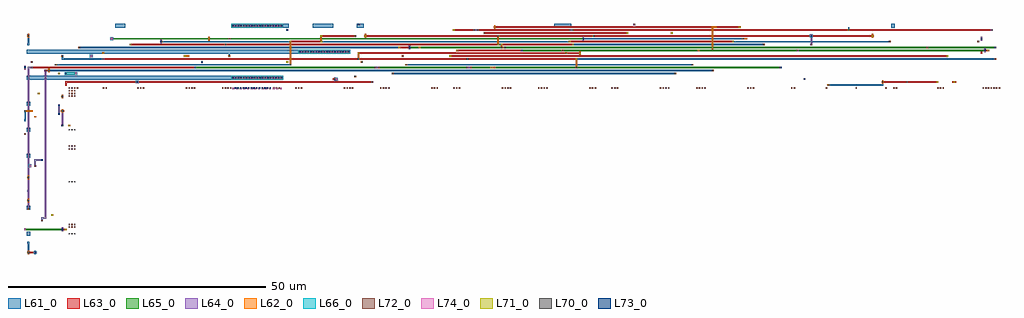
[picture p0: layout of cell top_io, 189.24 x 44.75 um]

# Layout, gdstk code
import gdstk
lib = gdstk.Library(unit=1e-6, precision=1e-09)
def R(c, l, rs):  # rectangles x0, y0, x1, y1
    for r in rs: c.add(gdstk.rectangle(r[:2], r[2:], *l))
def A(c, l, x, y, w, h, nx, ny, dx, dy):  # array of equal rectangles
    R(c, l, [(x+i*dx, y+j*dy, x+i*dx+w, y+j*dy+h) for i in range(nx) for j in range(ny)])
def P(c, l, *ps):  # polygons
    for p in ps: c.add(gdstk.Polygon(p, *l))
L61_0 = (61, 0)
L62_0 = (62, 0)
L63_0 = (63, 0)
L64_0 = (64, 0)
L65_0 = (65, 0)
L66_0 = (66, 0)
L70_0 = (70, 0)
L71_0 = (71, 0)
L72_0 = (72, 0)
L73_0 = (73, 0)
L74_0 = (74, 0)

top_io = lib.new_cell('top_io')
A(top_io, L61_0, 1200.54, 753.92, 0.66, 0.8, 1, 4, 0, 5.04)
R(top_io, L61_0, [(1200.68,730.38,1201.06,730.66), (1200.54,733.76,1201.2,734.56), (1200.54,738.8,1201.2,739.6), (1200.68,740.46,1201.06,740.74), (1200.68,744.94,1201.06,745.22), (1200.54,748.88,1201.2,749.68), (1200.54,753.92,1201.2,754.72), (1200.02,757.82,1200.4,758.1), (1207.28,757.82,1207.66,758.1), (1207.28,760.62,1207.66,760.9), (1355.78,762.86,1356.16,763.14), (1366.34,763.42,1366.72,763.7), (1201.2,764,1250.24,764.8), (1240.24,764,1250.24,764.8), (1264.04,764.54,1264.42,764.82), (1271.3,765.1,1271.68,765.38), (1326.08,765.1,1326.46,765.38), (1204.64,765.66,1205.02,765.94), (1333.34,765.66,1333.72,765.94), (1306.94,766.22,1307.32,766.5), (1205.96,766.78,1206.34,767.06), (1251.5,766.78,1251.88,767.06), (1273.94,766.78,1274.32,767.06), (1329.38,766.78,1329.76,767.06), (1265.36,767.34,1265.74,767.62), (1264.7,767.9,1265.08,768.18), (1285.82,767.9,1286.2,768.18), (1388.12,767.9,1388.5,768.18), (1207.28,768.46,1207.66,768.74), (1239.62,768.46,1240,768.74), (1273.28,768.46,1273.66,768.74), (1239.695,768.485,1239.925,769.16), (1304.96,769.02,1305.34,769.3), (1201.2,769.04,1263.24,769.84), (1253.24,769.04,1263.24,769.84), (1304.3,769.58,1304.68,769.86), (1210.58,770.14,1210.96,770.42), (1292.42,770.14,1292.8,770.42), (1293.08,770.14,1293.46,770.42), (1238.96,770.7,1239.34,770.98), (1343.24,770.7,1343.62,770.98), (1226.42,771.26,1226.8,771.54), (1367.66,771.26,1368.04,771.54), (1239.62,771.82,1240,772.1), (1339.28,771.82,1339.66,772.1), (1200.68,772.38,1201.06,772.66), (1291.76,772.38,1292.14,772.66), (1310.24,772.38,1310.62,772.66), (1359.74,773.5,1360.12,773.78), (1359.815,773.525,1360.045,774.2), (1217.7,774.08,1219.02,774.88), (1219.02,774.08,1219.68,774.88), (1240.24,774.08,1250.24,774.88), (1250.04,774.08,1251.36,774.88), (1255.98,774.08,1258.62,774.88), (1258.62,774.08,1259.94,774.88), (1264.56,774.08,1265.88,774.88), (1302.84,774.08,1305.48,774.88), (1305.48,774.08,1306.14,774.88), (1368.18,774.08,1368.84,774.88)])
P(top_io, L61_0, [(1204.83,765.915),(1204.715,765.915),(1204.715,765.685),(1204.83,765.685),(1333.53,765.685),(1333.645,765.685),(1333.645,765.915),(1333.53,765.915)],
  [(1286.01,768.155),(1285.895,768.155),(1285.895,767.925),(1286.01,767.925),(1388.31,767.925),(1388.425,767.925),(1388.425,768.155),(1388.31,768.155)],
  [(1226.61,771.515),(1226.495,771.515),(1226.495,771.285),(1226.61,771.285),(1367.85,771.285),(1367.965,771.285),(1367.965,771.515),(1367.85,771.515)],
  [(1239.15,770.955),(1239.035,770.955),(1239.035,770.725),(1239.15,770.725),(1343.43,770.725),(1343.545,770.725),(1343.545,770.955),(1343.43,770.955)],
  [(1274.13,767.035),(1274.015,767.035),(1274.015,766.805),(1274.13,766.805),(1329.57,766.805),(1329.685,766.805),(1329.685,767.035),(1329.57,767.035)],
  [(1206.15,767.035),(1206.035,767.035),(1206.035,766.805),(1206.15,766.805),(1251.69,766.805),(1251.805,766.805),(1251.805,767.035),(1251.69,767.035)],
  [(1239.81,772.075),(1239.695,772.075),(1239.695,771.845),(1239.81,771.845),(1339.47,771.845),(1339.585,771.845),(1339.585,772.075),(1339.47,772.075)],
  [(1355.97,763.115),(1355.855,763.115),(1355.855,762.885),(1355.97,762.885),(1366.53,762.885),(1366.645,762.885),(1366.645,763.115),(1366.53,763.115)],
  [(1366.415,763),(1366.415,762.885),(1366.645,762.885),(1366.645,763),(1366.645,763.56),(1366.645,763.675),(1366.415,763.675),(1366.415,763.56)],
  [(1207.355,768.04),(1207.355,767.925),(1207.585,767.925),(1207.585,768.04),(1207.585,768.6),(1207.585,768.715),(1207.355,768.715),(1207.355,768.6)],
  [(1207.47,768.155),(1207.355,768.155),(1207.355,767.925),(1207.47,767.925),(1264.89,767.925),(1265.005,767.925),(1265.005,768.155),(1264.89,768.155)],
  [(1210.77,770.395),(1210.655,770.395),(1210.655,770.165),(1210.77,770.165),(1292.61,770.165),(1292.725,770.165),(1292.725,770.395),(1292.61,770.395)],
  [(1291.95,772.635),(1291.835,772.635),(1291.835,772.405),(1291.95,772.405),(1310.43,772.405),(1310.545,772.405),(1310.545,772.635),(1310.43,772.635)],
  [(1271.49,765.355),(1271.375,765.355),(1271.375,765.125),(1271.49,765.125),(1326.27,765.125),(1326.385,765.125),(1326.385,765.355),(1326.27,765.355)],
  [(1200.02,755.92),(1200.02,756.26),(1200.095,756.26),(1200.095,756.395),(1200.13,756.395),(1200.13,757.71),(1200.02,757.71),(1200.02,758.05),(1200.36,758.05),(1200.36,755.92)],
  [(1200.68,772.88),(1200.68,772.54),(1200.755,772.54),(1200.755,772.405),(1200.79,772.405),(1200.79,771.09),(1200.68,771.09),(1200.68,770.75),(1201.02,770.75),(1201.02,772.88)],
  [(1200.68,742.64),(1200.68,742.3),(1200.755,742.3),(1200.755,742.165),(1200.79,742.165),(1200.79,740.85),(1200.68,740.85),(1200.68,740.51),(1201.02,740.51),(1201.02,742.64)],
  [(1200.68,732.56),(1200.68,732.22),(1200.755,732.22),(1200.755,732.085),(1200.79,732.085),(1200.79,730.77),(1200.68,730.77),(1200.68,730.43),(1201.02,730.43),(1201.02,732.56)])
A(top_io, L62_0, 1264.7, 767.9, 0.38, 0.28, 3, 1, 21.12, 0)
R(top_io, L62_0, [(1200.73,730.15,1201.01,730.89), (1200.68,730.38,1201.06,730.66), (1207.94,734.86,1208.32,735.14), (1205.3,737.66,1205.68,737.94), (1200.73,740.23,1201.01,740.97), (1200.68,740.46,1201.06,740.74), (1200.73,744.71,1201.01,745.45), (1200.68,744.94,1201.06,745.22), (1208.6,755.02,1208.98,755.3), (1202,756.7,1202.38,756.98), (1207.33,757.59,1207.61,758.33), (1200.02,757.82,1200.4,758.1), (1207.28,757.82,1207.66,758.1), (1207.33,760.39,1207.61,761.13), (1207.28,760.62,1207.66,760.9), (1202.66,761.18,1203.04,761.46), (1355.78,762.86,1356.16,763.14), (1366.39,763.19,1366.67,763.93), (1366.34,763.42,1366.72,763.7), (1376.9,763.42,1377.28,763.7), (1380.2,763.42,1380.58,763.7), (1260.08,763.98,1260.46,764.26), (1240.24,764,1250.24,764.8), (1240.24,764,1250.24,764.8), (1264.04,764.54,1264.42,764.82), (1206.62,765.1,1207,765.38), (1271.3,765.1,1271.68,765.38), (1326.08,765.1,1326.46,765.38), (1204.69,765.43,1204.97,766.17), (1204.64,765.66,1205.02,765.94), (1333.34,765.66,1333.72,765.94), (1290.44,766.22,1290.82,766.5), (1306.94,766.22,1307.32,766.5), (1205.96,766.78,1206.34,767.06), (1251.5,766.78,1251.88,767.06), (1273.94,766.78,1274.32,767.06), (1329.38,766.78,1329.76,767.06), (1250.84,767.34,1251.22,767.62), (1265.36,767.34,1265.74,767.62), (1388.12,767.9,1388.5,768.18), (1207.28,768.46,1207.66,768.74), (1231.04,768.46,1231.42,768.74), (1239.62,768.46,1240,768.74), (1273.28,768.46,1273.66,768.74), (1282.52,768.46,1282.9,768.74), (1378.88,768.46,1379.26,768.74), (1307.65,768.79,1307.93,769.53), (1215.2,769.02,1215.58,769.3), (1264.7,769.02,1265.08,769.3), (1304.96,769.02,1305.34,769.3), (1253.24,769.04,1263.24,769.84), (1253.24,769.04,1263.24,769.84), (1283.84,769.58,1284.22,769.86), (1304.3,769.58,1304.68,769.86), (1330.7,769.58,1331.08,769.86), (1386.8,769.58,1387.18,769.86), (1333.39,769.91,1333.67,770.65), (1210.58,770.14,1210.96,770.42), (1272.62,770.14,1273,770.42), (1276.58,770.14,1276.96,770.42), (1292.42,770.14,1292.8,770.42), (1293.08,770.14,1293.46,770.42), (1220.48,770.7,1220.86,770.98), (1238.96,770.7,1239.34,770.98), (1291.76,770.7,1292.14,770.98), (1292.42,770.7,1292.8,770.98), (1306.28,770.7,1306.66,770.98), (1343.24,770.7,1343.62,770.98), (1226.42,771.26,1226.8,771.54), (1251.5,771.26,1251.88,771.54), (1257.44,771.26,1257.82,771.54), (1305.62,771.26,1306,771.54), (1337.3,771.26,1337.68,771.54), (1367.66,771.26,1368.04,771.54), (1235.71,771.59,1235.99,772.33), (1239.62,771.82,1240,772.1), (1339.28,771.82,1339.66,772.1), (1200.73,772.15,1201.01,772.89), (1266.07,772.15,1266.35,772.89), (1364.41,772.15,1364.69,772.89), (1200.68,772.38,1201.06,772.66), (1257.44,772.38,1257.82,772.66), (1291.76,772.38,1292.14,772.66), (1310.24,772.38,1310.62,772.66), (1316.84,772.94,1317.22,773.22), (1325.42,772.94,1325.8,773.22), (1283.18,773.5,1283.56,773.78), (1359.74,773.5,1360.12,773.78), (1291.15,773.83,1291.43,774.57), (1338.62,774.06,1339,774.34), (1240.24,774.08,1250.24,774.88), (1240.24,774.08,1250.24,774.88)])
P(top_io, L62_0, [(1231.23,768.74),(1231.09,768.74),(1231.09,768.46),(1231.23,768.46),(1231.89,768.46),(1232.03,768.46),(1232.03,768.74),(1231.89,768.74)],
  [(1291.81,770.84),(1291.81,770.7),(1292.09,770.7),(1292.09,770.84),(1292.09,772.52),(1292.09,772.66),(1291.81,772.66),(1291.81,772.52)],
  [(1292.47,770.28),(1292.47,770.14),(1292.75,770.14),(1292.75,770.28),(1292.75,770.84),(1292.75,770.98),(1292.47,770.98),(1292.47,770.84)],
  [(1264.75,768.04),(1264.75,767.9),(1265.03,767.9),(1265.03,768.04),(1265.03,769.16),(1265.03,769.3),(1264.75,769.3),(1264.75,769.16)],
  [(1200.21,758.1),(1200.07,758.1),(1200.07,757.82),(1200.21,757.82),(1201.53,757.82),(1201.67,757.82),(1201.67,758.1),(1201.53,758.1)],
  [(1339.47,772.1),(1339.33,772.1),(1339.33,771.82),(1339.47,771.82),(1340.13,771.82),(1340.27,771.82),(1340.27,772.1),(1340.13,772.1)],
  [(1251.55,766.92),(1251.55,766.78),(1251.83,766.78),(1251.83,766.92),(1251.83,771.4),(1251.83,771.54),(1251.55,771.54),(1251.55,771.4)],
  [(1257.49,771.4),(1257.49,771.26),(1257.77,771.26),(1257.77,771.4),(1257.77,772.52),(1257.77,772.66),(1257.49,772.66),(1257.49,772.52)],
  [(1333.39,770.28),(1333.39,770.14),(1333.67,770.14),(1333.67,770.28),(1333.67,774.2),(1333.67,774.34),(1333.39,774.34),(1333.39,774.2)],
  [(1333.53,774.34),(1333.39,774.34),(1333.39,774.06),(1333.53,774.06),(1334.19,774.06),(1334.33,774.06),(1334.33,774.34),(1334.19,774.34)],
  [(1290.63,766.5),(1290.49,766.5),(1290.49,766.22),(1290.63,766.22),(1291.29,766.22),(1291.43,766.22),(1291.43,766.5),(1291.29,766.5)],
  [(1306.99,766.36),(1306.99,766.22),(1307.27,766.22),(1307.27,766.36),(1307.27,768.04),(1307.27,768.18),(1306.99,768.18),(1306.99,768.04)])
A(top_io, L63_0, 1272.62, 770.14, 0.38, 0.28, 3, 1, 1.98, 0)
R(top_io, L63_0, [(1200.68,730.38,1201.06,730.66), (1202,730.38,1202.38,730.66), (1207.28,734.86,1207.66,735.14), (1207.94,734.86,1208.32,735.14), (1203.32,736.54,1203.7,736.82), (1205.3,737.66,1205.68,737.94), (1200.68,738.78,1201.06,739.06), (1200.68,740.46,1201.06,740.74), (1200.68,744.94,1201.06,745.22), (1202,747.18,1202.38,747.46), (1200.02,753.34,1200.4,753.62), (1208.6,755.02,1208.98,755.3), (1202,756.7,1202.38,756.98), (1207.1,757.82,1207.84,758.1), (1207.28,757.82,1207.66,758.1), (1207.28,760.62,1207.66,760.9), (1202.66,761.18,1203.04,761.46), (1267.34,763.42,1267.72,763.7), (1366.34,763.42,1366.72,763.7), (1370.96,763.42,1371.34,763.7), (1376.9,763.42,1377.28,763.7), (1380.02,763.42,1380.76,763.7), (1380.2,763.42,1380.58,763.7), (1259.9,763.98,1260.64,764.26), (1260.08,763.98,1260.46,764.26), (1240.24,764,1250.24,764.8), (1240.24,764,1250.24,764.8), (1206.62,765.1,1207,765.38), (1203.98,765.66,1204.36,765.94), (1204.64,765.66,1205.02,765.94), (1200.02,766.22,1200.4,766.5), (1201.34,766.22,1201.72,766.5), (1268,766.22,1268.38,766.5), (1268.66,766.22,1269.04,766.5), (1285.82,766.22,1286.2,766.5), (1286.48,766.22,1286.86,766.5), (1290.44,766.22,1290.82,766.5), (1201.34,767.34,1201.72,767.62), (1250.84,767.34,1251.22,767.62), (1215.2,767.9,1215.58,768.18), (1306.94,767.9,1307.32,768.18), (1231.04,768.46,1231.42,768.74), (1282.52,768.46,1282.9,768.74), (1378.88,768.46,1379.26,768.74), (1215.2,769.02,1215.58,769.3), (1264.7,769.02,1265.08,769.3), (1307.6,769.02,1307.98,769.3), (1253.24,769.04,1263.24,769.84), (1253.24,769.04,1263.24,769.84), (1283.84,769.58,1284.22,769.86), (1330.7,769.58,1331.08,769.86), (1349.84,769.58,1350.22,769.86), (1386.14,769.58,1386.52,769.86), (1386.8,769.58,1387.18,769.86), (1333.34,770.14,1333.72,770.42), (1374.92,770.14,1375.3,770.42), (1220.48,770.7,1220.86,770.98), (1291.76,770.7,1292.14,770.98), (1292.42,770.7,1292.8,770.98), (1306.28,770.7,1306.66,770.98), (1352.48,770.7,1352.86,770.98), (1251.5,771.26,1251.88,771.54), (1257.44,771.26,1257.82,771.54), (1305.62,771.26,1306,771.54), (1337.3,771.26,1337.68,771.54), (1384.82,771.26,1385.2,771.54), (1235.66,771.82,1236.04,772.1), (1200.68,772.38,1201.06,772.66), (1257.44,772.38,1257.82,772.66), (1264.04,772.38,1264.42,772.66), (1266.02,772.38,1266.4,772.66), (1364.36,772.38,1364.74,772.66), (1289.12,772.94,1289.5,773.22), (1316.84,772.94,1317.22,773.22), (1325.42,772.94,1325.8,773.22), (1283.18,773.5,1283.56,773.78), (1287.14,773.5,1287.52,773.78), (1287.8,773.5,1288.18,773.78), (1305.62,773.5,1306,773.78), (1306.28,773.5,1306.66,773.78), (1387.46,773.5,1387.84,773.78), (1291.1,774.06,1291.48,774.34), (1338.62,774.06,1339,774.34), (1240.24,774.08,1250.24,774.88), (1240.24,774.08,1250.24,774.88), (1318.16,774.62,1318.54,774.9)])
P(top_io, L63_0, [(1282.71,768.74),(1282.57,768.74),(1282.57,768.46),(1282.71,768.46),(1379.07,768.46),(1379.21,768.46),(1379.21,768.74),(1379.07,768.74)],
  [(1220.67,770.98),(1220.53,770.98),(1220.53,770.7),(1220.67,770.7),(1291.95,770.7),(1292.09,770.7),(1292.09,770.98),(1291.95,770.98)],
  [(1292.61,770.98),(1292.47,770.98),(1292.47,770.7),(1292.61,770.7),(1306.47,770.7),(1306.61,770.7),(1306.61,770.98),(1306.47,770.98)],
  [(1264.89,769.3),(1264.75,769.3),(1264.75,769.02),(1264.89,769.02),(1307.79,769.02),(1307.93,769.02),(1307.93,769.3),(1307.79,769.3)],
  [(1371.15,763.7),(1371.01,763.7),(1371.01,763.42),(1371.15,763.42),(1377.09,763.42),(1377.23,763.42),(1377.23,763.7),(1377.09,763.7)],
  [(1366.53,763.7),(1366.39,763.7),(1366.39,763.42),(1366.53,763.42),(1371.15,763.42),(1371.29,763.42),(1371.29,763.7),(1371.15,763.7)],
  [(1272.81,770.42),(1272.67,770.42),(1272.67,770.14),(1272.81,770.14),(1274.79,770.14),(1274.93,770.14),(1274.93,770.42),(1274.79,770.42)],
  [(1289.31,773.22),(1289.17,773.22),(1289.17,772.94),(1289.31,772.94),(1317.03,772.94),(1317.17,772.94),(1317.17,773.22),(1317.03,773.22)],
  [(1251.69,771.54),(1251.55,771.54),(1251.55,771.26),(1251.69,771.26),(1257.63,771.26),(1257.77,771.26),(1257.77,771.54),(1257.63,771.54)],
  [(1257.63,772.66),(1257.49,772.66),(1257.49,772.38),(1257.63,772.38),(1264.23,772.38),(1264.37,772.38),(1264.37,772.66),(1264.23,772.66)],
  [(1284.03,769.86),(1283.89,769.86),(1283.89,769.58),(1284.03,769.58),(1330.89,769.58),(1331.03,769.58),(1331.03,769.86),(1330.89,769.86)],
  [(1266.21,772.66),(1266.07,772.66),(1266.07,772.38),(1266.21,772.38),(1364.55,772.38),(1364.69,772.38),(1364.69,772.66),(1364.55,772.66)],
  [(1305.81,771.54),(1305.67,771.54),(1305.67,771.26),(1305.81,771.26),(1337.49,771.26),(1337.63,771.26),(1337.63,771.54),(1337.49,771.54)],
  [(1276.77,770.42),(1276.63,770.42),(1276.63,770.14),(1276.77,770.14),(1333.53,770.14),(1333.67,770.14),(1333.67,770.42),(1333.53,770.42)],
  [(1291.29,774.34),(1291.15,774.34),(1291.15,774.06),(1291.29,774.06),(1338.81,774.06),(1338.95,774.06),(1338.95,774.34),(1338.81,774.34)],
  [(1386.33,769.86),(1386.19,769.86),(1386.19,769.58),(1386.33,769.58),(1386.99,769.58),(1387.13,769.58),(1387.13,769.86),(1386.99,769.86)],
  [(1283.37,773.78),(1283.23,773.78),(1283.23,773.5),(1283.37,773.5),(1287.33,773.5),(1287.47,773.5),(1287.47,773.78),(1287.33,773.78)],
  [(1287.99,773.78),(1287.85,773.78),(1287.85,773.5),(1287.99,773.5),(1305.81,773.5),(1305.95,773.5),(1305.95,773.78),(1305.81,773.78)],
  [(1306.47,773.78),(1306.33,773.78),(1306.33,773.5),(1306.47,773.5),(1387.65,773.5),(1387.79,773.5),(1387.79,773.78),(1387.65,773.78)],
  [(1385.53,769.16),(1385.53,769.02),(1385.81,769.02),(1385.81,769.16),(1385.81,769.72),(1385.81,769.86),(1385.53,769.86),(1385.53,769.72)],
  [(1350.03,769.86),(1349.89,769.86),(1349.89,769.58),(1350.03,769.58),(1385.67,769.58),(1385.81,769.58),(1385.81,769.86),(1385.67,769.86)],
  [(1200.87,730.66),(1200.73,730.66),(1200.73,730.38),(1200.87,730.38),(1202.19,730.38),(1202.33,730.38),(1202.33,730.66),(1202.19,730.66)],
  [(1286.67,766.5),(1286.53,766.5),(1286.53,766.22),(1286.67,766.22),(1290.63,766.22),(1290.77,766.22),(1290.77,766.5),(1290.63,766.5)],
  [(1268.85,766.5),(1268.71,766.5),(1268.71,766.22),(1268.85,766.22),(1286.01,766.22),(1286.15,766.22),(1286.15,766.5),(1286.01,766.5)],
  [(1201.53,766.5),(1201.39,766.5),(1201.39,766.22),(1201.53,766.22),(1268.19,766.22),(1268.33,766.22),(1268.33,766.5),(1268.19,766.5)],
  [(1204.17,765.94),(1204.03,765.94),(1204.03,765.66),(1204.17,765.66),(1204.83,765.66),(1204.97,765.66),(1204.97,765.94),(1204.83,765.94)],
  [(1207.47,735.14),(1207.33,735.14),(1207.33,734.86),(1207.47,734.86),(1208.13,734.86),(1208.27,734.86),(1208.27,735.14),(1208.13,735.14)],
  [(1215.39,768.18),(1215.25,768.18),(1215.25,767.9),(1215.39,767.9),(1307.13,767.9),(1307.27,767.9),(1307.27,768.18),(1307.13,768.18)],
  [(1207.99,763),(1207.99,762.86),(1208.27,762.86),(1208.27,763),(1208.27,763.56),(1208.27,763.7),(1207.99,763.7),(1207.99,763.56)],
  [(1208.13,763.7),(1207.99,763.7),(1207.99,763.42),(1208.13,763.42),(1267.53,763.42),(1267.67,763.42),(1267.67,763.7),(1267.53,763.7)])
R(top_io, L64_0, [(1202.05,730.15,1202.33,730.89), (1202,730.38,1202.38,730.66), (1207.33,734.63,1207.61,735.37), (1207.28,734.86,1207.66,735.14), (1203.32,736.54,1203.7,736.82), (1200.68,738.78,1201.06,739.06), (1202,747.18,1202.38,747.46), (1203.32,748.3,1203.7,748.58), (1200.02,753.34,1200.4,753.62), (1207.28,755.02,1207.66,755.3), (1206.62,757.26,1207,757.54), (1207.28,757.82,1207.66,758.1), (1206.62,758.94,1207,759.22), (1221.8,763.42,1222.18,763.7), (1267.34,763.42,1267.72,763.7), (1370.96,763.42,1371.34,763.7), (1380.2,763.42,1380.58,763.7), (1260.13,763.75,1260.41,764.49), (1260.08,763.98,1260.46,764.26), (1351.16,763.98,1351.54,764.26), (1240.24,764,1250.24,764.8), (1240.24,764,1250.24,764.8), (1207.94,765.1,1208.32,765.38), (1203.98,765.66,1204.36,765.94), (1200.07,765.99,1200.35,766.73), (1200.02,766.22,1200.4,766.5), (1201.34,766.22,1201.72,766.5), (1233.02,766.22,1233.4,766.5), (1268,766.22,1268.38,766.5), (1268.66,766.22,1269.04,766.5), (1285.82,766.22,1286.2,766.5), (1286.48,766.22,1286.86,766.5), (1346.54,766.22,1346.92,766.5), (1201.34,767.34,1201.72,767.62), (1234.34,767.34,1234.72,767.62), (1215.2,767.9,1215.58,768.18), (1253.24,769.04,1263.24,769.84), (1253.24,769.04,1263.24,769.84), (1386.19,769.35,1386.47,770.09), (1296.38,769.58,1296.76,769.86), (1349.84,769.58,1350.22,769.86), (1386.14,769.58,1386.52,769.86), (1274.65,769.91,1274.93,770.65), (1274.6,770.14,1274.98,770.42), (1374.92,770.14,1375.3,770.42), (1388.12,770.14,1388.5,770.42), (1352.48,770.7,1352.86,770.98), (1226.47,771.03,1226.75,771.77), (1384.82,771.26,1385.2,771.54), (1308.31,771.59,1308.59,772.33), (1385.53,771.59,1385.81,772.33), (1264.04,772.38,1264.42,772.66), (1352.48,772.38,1352.86,772.66), (1289.12,772.94,1289.5,773.22), (1250.84,773.5,1251.22,773.78), (1287.14,773.5,1287.52,773.78), (1287.8,773.5,1288.18,773.78), (1305.62,773.5,1306,773.78), (1306.28,773.5,1306.66,773.78), (1387.46,773.5,1387.84,773.78), (1240.24,774.08,1250.24,774.88), (1240.24,774.08,1250.24,774.88), (1264.7,774.62,1265.08,774.9), (1318.16,774.62,1318.54,774.9)])
P(top_io, L64_0, [(1207.33,755.16),(1207.33,755.02),(1207.61,755.02),(1207.61,755.16),(1207.61,757.96),(1207.61,758.1),(1207.33,758.1),(1207.33,757.96)],
  [(1206.67,757.4),(1206.67,757.26),(1206.95,757.26),(1206.95,757.4),(1206.95,759.08),(1206.95,759.22),(1206.67,759.22),(1206.67,759.08)],
  [(1202.19,748.58),(1202.05,748.58),(1202.05,748.3),(1202.19,748.3),(1203.51,748.3),(1203.65,748.3),(1203.65,748.58),(1203.51,748.58)],
  [(1202.05,747.32),(1202.05,747.18),(1202.33,747.18),(1202.33,747.32),(1202.33,748.44),(1202.33,748.58),(1202.05,748.58),(1202.05,748.44)],
  [(1204.03,737.24),(1204.03,737.1),(1204.31,737.1),(1204.31,737.24),(1204.31,765.8),(1204.31,765.94),(1204.03,765.94),(1204.03,765.8)],
  [(1203.51,737.38),(1203.37,737.38),(1203.37,737.1),(1203.51,737.1),(1204.17,737.1),(1204.31,737.1),(1204.31,737.38),(1204.17,737.38)],
  [(1203.37,736.68),(1203.37,736.54),(1203.65,736.54),(1203.65,736.68),(1203.65,737.24),(1203.65,737.38),(1203.37,737.38),(1203.37,737.24)],
  [(1200.87,766.5),(1200.73,766.5),(1200.73,766.22),(1200.87,766.22),(1201.53,766.22),(1201.67,766.22),(1201.67,766.5),(1201.53,766.5)],
  [(1268.19,766.5),(1268.05,766.5),(1268.05,766.22),(1268.19,766.22),(1268.85,766.22),(1268.99,766.22),(1268.99,766.5),(1268.85,766.5)],
  [(1286.01,766.5),(1285.87,766.5),(1285.87,766.22),(1286.01,766.22),(1286.67,766.22),(1286.81,766.22),(1286.81,766.5),(1286.67,766.5)],
  [(1200.73,738.92),(1200.73,738.78),(1201.01,738.78),(1201.01,738.92),(1201.01,766.36),(1201.01,766.5),(1200.73,766.5),(1200.73,766.36)],
  [(1305.81,773.78),(1305.67,773.78),(1305.67,773.5),(1305.81,773.5),(1306.47,773.5),(1306.61,773.5),(1306.61,773.78),(1306.47,773.78)],
  [(1287.33,773.78),(1287.19,773.78),(1287.19,773.5),(1287.33,773.5),(1287.99,773.5),(1288.13,773.5),(1288.13,773.78),(1287.99,773.78)],
  [(1352.53,770.84),(1352.53,770.7),(1352.81,770.7),(1352.81,770.84),(1352.81,772.52),(1352.81,772.66),(1352.53,772.66),(1352.53,772.52)])
R(top_io, L65_0, [(1201.92,730.33,1202.46,730.71), (1202,730.38,1202.38,730.66), (1207.28,734.86,1207.66,735.14), (1200.96,747.13,1201.44,747.51), (1203.32,748.3,1203.7,748.58), (1207.28,755.02,1207.66,755.3), (1206.62,757.26,1207,757.54), (1206.62,758.94,1207,759.22), (1221.72,763.37,1222.26,763.75), (1221.8,763.42,1222.18,763.7), (1260.36,763.93,1260.84,764.31), (1260.08,763.98,1260.46,764.26), (1351.16,763.98,1351.54,764.26), (1240.24,764,1250.24,764.8), (1240.24,764,1250.24,764.8), (1209.87,765.05,1210.35,765.43), (1207.94,765.1,1208.32,765.38), (1200.02,766.22,1200.4,766.5), (1233.02,766.22,1233.4,766.5), (1346.54,766.22,1346.92,766.5), (1234.34,767.34,1234.72,767.62), (1212.84,768.41,1213.32,768.79), (1253.24,769.04,1263.24,769.84), (1253.24,769.04,1263.24,769.84), (1296.38,769.58,1296.76,769.86), (1386.14,769.58,1386.52,769.86), (1274.6,770.14,1274.98,770.42), (1388.12,770.14,1388.5,770.42), (1226.42,771.26,1226.8,771.54), (1216.8,771.77,1217.28,772.15), (1308.26,771.82,1308.64,772.1), (1385.48,771.82,1385.86,772.1), (1352.4,772.33,1352.94,772.71), (1352.48,772.38,1352.86,772.66), (1250.84,773.5,1251.22,773.78), (1240.24,774.08,1250.24,774.88), (1240.24,774.08,1250.24,774.88), (1264.7,774.62,1265.08,774.9)])
P(top_io, L65_0, [(1260.27,764.26),(1260.13,764.26),(1260.13,763.98),(1260.27,763.98),(1260.6,763.98),(1260.74,763.98),(1260.74,764.26),(1260.6,764.26)],
  [(1274.79,770.42),(1274.65,770.42),(1274.65,770.14),(1274.79,770.14),(1388.31,770.14),(1388.45,770.14),(1388.45,770.42),(1388.31,770.42)],
  [(1233.21,766.5),(1233.07,766.5),(1233.07,766.22),(1233.21,766.22),(1346.73,766.22),(1346.87,766.22),(1346.87,766.5),(1346.73,766.5)],
  [(1296.57,769.86),(1296.43,769.86),(1296.43,769.58),(1296.57,769.58),(1386.33,769.58),(1386.47,769.58),(1386.47,769.86),(1386.33,769.86)],
  [(1200.21,735.14),(1200.07,735.14),(1200.07,734.86),(1200.21,734.86),(1207.47,734.86),(1207.61,734.86),(1207.61,735.14),(1207.47,735.14)],
  [(1217.04,772.1),(1216.9,772.1),(1216.9,771.82),(1217.04,771.82),(1308.45,771.82),(1308.59,771.82),(1308.59,772.1),(1308.45,772.1)])
R(top_io, L66_0, [(1201.92,730.25,1202.46,730.79), (1200.93,747.05,1201.47,747.59), (1221.72,763.29,1222.26,763.83), (1260.33,763.85,1260.87,764.39), (1240.24,764,1250.24,764.8), (1209.84,764.97,1210.38,765.51), (1212.81,768.33,1213.35,768.87), (1253.24,769.04,1263.24,769.84), (1216.77,771.69,1217.31,772.23), (1352.4,772.25,1352.94,772.79), (1240.24,774.08,1250.24,774.88)])
P(top_io, L66_0, [(1208.13,765.46),(1207.91,765.46),(1207.91,765.02),(1208.13,765.02),(1210.11,765.02),(1210.33,765.02),(1210.33,765.46),(1210.11,765.46)])
A(top_io, L70_0, 1208.675, 734.03, 0.26, 0.26, 3, 3, 0.52, 10.08)
A(top_io, L70_0, 1240.43, 764.27, 0.26, 0.26, 19, 2, 0.52, 10.08)
A(top_io, L70_0, 1253.43, 769.31, 0.26, 0.26, 19, 1, 0.52, 0)
R(top_io, L70_0, [(1200.74,730.39,1201,730.65), (1200.74,740.47,1201,740.73), (1200.74,744.95,1201,745.21), (1200.08,757.83,1200.34,758.09), (1207.34,757.83,1207.6,758.09), (1207.34,760.63,1207.6,760.89), (1355.84,762.87,1356.1,763.13), (1366.4,763.43,1366.66,763.69), (1264.1,764.55,1264.36,764.81), (1271.36,765.11,1271.62,765.37), (1326.14,765.11,1326.4,765.37), (1204.7,765.67,1204.96,765.93), (1333.4,765.67,1333.66,765.93), (1307,766.23,1307.26,766.49), (1206.02,766.79,1206.28,767.05), (1251.56,766.79,1251.82,767.05), (1274,766.79,1274.26,767.05), (1329.44,766.79,1329.7,767.05), (1265.42,767.35,1265.68,767.61), (1264.76,767.91,1265.02,768.17), (1285.88,767.91,1286.14,768.17), (1388.18,767.91,1388.44,768.17), (1207.34,768.47,1207.6,768.73), (1239.68,768.47,1239.94,768.73), (1273.34,768.47,1273.6,768.73), (1305.02,769.03,1305.28,769.29), (1304.36,769.59,1304.62,769.85), (1210.64,770.15,1210.9,770.41), (1292.48,770.15,1292.74,770.41), (1293.14,770.15,1293.4,770.41), (1239.02,770.71,1239.28,770.97), (1343.3,770.71,1343.56,770.97), (1226.48,771.27,1226.74,771.53), (1367.72,771.27,1367.98,771.53), (1239.68,771.83,1239.94,772.09), (1339.34,771.83,1339.6,772.09), (1200.74,772.39,1201,772.65), (1291.82,772.39,1292.08,772.65), (1310.3,772.39,1310.56,772.65), (1359.8,773.51,1360.06,773.77)])
A(top_io, L71_0, 1208.675, 734.03, 0.26, 0.26, 3, 3, 0.52, 10.08)
A(top_io, L71_0, 1240.43, 764.27, 0.26, 0.26, 19, 2, 0.52, 10.08)
A(top_io, L71_0, 1253.43, 769.31, 0.26, 0.26, 19, 1, 0.52, 0)
R(top_io, L71_0, [(1200.74,730.39,1201,730.65), (1208,734.87,1208.26,735.13), (1205.36,737.67,1205.62,737.93), (1200.74,740.47,1201,740.73), (1200.74,744.95,1201,745.21), (1208.66,755.03,1208.92,755.29), (1202.06,756.71,1202.32,756.97), (1207.34,757.83,1207.6,758.09), (1207.34,760.63,1207.6,760.89), (1202.72,761.19,1202.98,761.45), (1366.4,763.43,1366.66,763.69), (1376.96,763.43,1377.22,763.69), (1380.26,763.43,1380.52,763.69), (1260.14,763.99,1260.4,764.25), (1206.68,765.11,1206.94,765.37), (1204.7,765.67,1204.96,765.93), (1290.5,766.23,1290.76,766.49), (1250.9,767.35,1251.16,767.61), (1307,767.91,1307.26,768.17), (1231.1,768.47,1231.36,768.73), (1282.58,768.47,1282.84,768.73), (1378.94,768.47,1379.2,768.73), (1215.26,769.03,1215.52,769.29), (1264.76,769.03,1265.02,769.29), (1307.66,769.03,1307.92,769.29), (1283.9,769.59,1284.16,769.85), (1330.76,769.59,1331.02,769.85), (1386.86,769.59,1387.12,769.85), (1272.68,770.15,1272.94,770.41), (1276.64,770.15,1276.9,770.41), (1333.4,770.15,1333.66,770.41), (1220.54,770.71,1220.8,770.97), (1291.82,770.71,1292.08,770.97), (1292.48,770.71,1292.74,770.97), (1306.34,770.71,1306.6,770.97), (1251.56,771.27,1251.82,771.53), (1257.5,771.27,1257.76,771.53), (1305.68,771.27,1305.94,771.53), (1337.36,771.27,1337.62,771.53), (1235.72,771.83,1235.98,772.09), (1200.74,772.39,1201,772.65), (1257.5,772.39,1257.76,772.65), (1266.08,772.39,1266.34,772.65), (1364.42,772.39,1364.68,772.65), (1316.9,772.95,1317.16,773.21), (1325.48,772.95,1325.74,773.21), (1283.24,773.51,1283.5,773.77), (1291.16,774.07,1291.42,774.33), (1338.68,774.07,1338.94,774.33)])
A(top_io, L72_0, 1208.675, 734.03, 0.26, 0.26, 3, 2, 0.52, 1.3)
A(top_io, L72_0, 1208.675, 735.85, 0.26, 0.26, 3, 2, 0.52, 8.26)
A(top_io, L72_0, 1208.675, 750.485, 0.26, 0.26, 3, 2, 0.52, 0.52)
A(top_io, L72_0, 1208.675, 754.19, 0.26, 0.26, 3, 2, 0.52, 6.52)
A(top_io, L72_0, 1208.675, 761.23, 0.26, 0.26, 3, 2, 0.52, 0.52)
A(top_io, L72_0, 1208.675, 762.27, 0.26, 0.26, 4, 1, 0.52, 0)
A(top_io, L72_0, 1222.01, 762.27, 0.26, 0.26, 3, 1, 0.52, 0)
A(top_io, L72_0, 1231.41, 762.27, 0.26, 0.26, 4, 1, 0.52, 0)
A(top_io, L72_0, 1238.43, 762.27, 0.26, 0.26, 4, 1, 0.52, 0)
A(top_io, L72_0, 1240.87, 762.27, 0.26, 0.26, 14, 1, 0.52, 0)
A(top_io, L72_0, 1248.35, 762.27, 0.26, 0.26, 3, 1, 0.52, 0)
A(top_io, L72_0, 1252.65, 762.27, 0.26, 0.26, 3, 1, 0.52, 0)
A(top_io, L72_0, 1262.05, 762.27, 0.26, 0.26, 4, 1, 0.52, 0)
A(top_io, L72_0, 1269.07, 762.27, 0.26, 0.26, 4, 1, 0.52, 0)
A(top_io, L72_0, 1278.99, 762.27, 0.26, 0.26, 3, 1, 0.52, 0)
A(top_io, L72_0, 1283.29, 762.27, 0.26, 0.26, 3, 1, 0.52, 0)
A(top_io, L72_0, 1292.69, 762.27, 0.26, 0.26, 4, 1, 0.52, 0)
A(top_io, L72_0, 1299.71, 762.27, 0.26, 0.26, 4, 1, 0.52, 0)
A(top_io, L72_0, 1309.63, 762.27, 0.26, 0.26, 3, 1, 0.52, 0)
A(top_io, L72_0, 1313.93, 762.27, 0.26, 0.26, 3, 1, 0.52, 0)
A(top_io, L72_0, 1323.33, 762.27, 0.26, 0.26, 4, 1, 0.52, 0)
A(top_io, L72_0, 1330.35, 762.27, 0.26, 0.26, 4, 1, 0.52, 0)
A(top_io, L72_0, 1340.27, 762.27, 0.26, 0.26, 3, 1, 0.52, 0)
A(top_io, L72_0, 1355.49, 762.27, 0.26, 0.26, 3, 1, 5.76, 0)
A(top_io, L72_0, 1377.1, 762.27, 0.26, 0.26, 3, 1, 0.52, 0)
A(top_io, L72_0, 1385.88, 762.27, 0.26, 0.26, 7, 1, 0.52, 0)
A(top_io, L72_0, 1240.43, 764.27, 0.26, 0.26, 19, 2, 0.52, 10.08)
A(top_io, L72_0, 1253.43, 769.31, 0.26, 0.26, 19, 1, 0.52, 0)
R(top_io, L72_0, [(1202.06,730.39,1202.32,730.65), (1207.34,734.87,1207.6,735.13), (1203.38,736.55,1203.64,736.81), (1200.74,738.79,1201,739.05), (1202.06,747.19,1202.32,747.45), (1200.08,753.35,1200.34,753.61), (1207.34,757.83,1207.6,758.09), (1215.31,762.27,1215.57,762.53), (1215.83,762.27,1216.09,762.53), (1348.74,762.27,1349,762.53), (1349.26,762.27,1349.52,762.53), (1368.56,762.27,1368.82,762.53), (1369.08,762.27,1369.34,762.53), (1267.4,763.43,1267.66,763.69), (1371.02,763.43,1371.28,763.69), (1380.26,763.43,1380.52,763.69), (1260.14,763.99,1260.4,764.25), (1204.04,765.67,1204.3,765.93), (1200.08,766.23,1200.34,766.49), (1201.4,766.23,1201.66,766.49), (1268.06,766.23,1268.32,766.49), (1268.72,766.23,1268.98,766.49), (1285.88,766.23,1286.14,766.49), (1286.54,766.23,1286.8,766.49), (1201.4,767.35,1201.66,767.61), (1215.26,767.91,1215.52,768.17), (1349.9,769.59,1350.16,769.85), (1386.2,769.59,1386.46,769.85), (1274.66,770.15,1274.92,770.41), (1374.98,770.15,1375.24,770.41), (1352.54,770.71,1352.8,770.97), (1384.88,771.27,1385.14,771.53), (1264.1,772.39,1264.36,772.65), (1289.18,772.95,1289.44,773.21), (1287.2,773.51,1287.46,773.77), (1287.86,773.51,1288.12,773.77), (1305.68,773.51,1305.94,773.77), (1306.34,773.51,1306.6,773.77), (1387.52,773.51,1387.78,773.77), (1318.22,774.63,1318.48,774.89)])
A(top_io, L73_0, 1240.87, 762.27, 0.26, 0.26, 14, 1, 0.52, 0)
A(top_io, L73_0, 1240.43, 764.27, 0.26, 0.26, 19, 2, 0.52, 10.08)
A(top_io, L73_0, 1253.43, 769.31, 0.26, 0.26, 19, 1, 0.52, 0)
R(top_io, L73_0, [(1202.06,730.39,1202.32,730.65), (1207.34,734.87,1207.6,735.13), (1203.38,748.31,1203.64,748.57), (1207.34,755.03,1207.6,755.29), (1206.68,757.27,1206.94,757.53), (1206.68,758.95,1206.94,759.21), (1221.86,763.43,1222.12,763.69), (1260.14,763.99,1260.4,764.25), (1351.22,763.99,1351.48,764.25), (1208,765.11,1208.26,765.37), (1200.08,766.23,1200.34,766.49), (1233.08,766.23,1233.34,766.49), (1346.6,766.23,1346.86,766.49), (1234.4,767.35,1234.66,767.61), (1296.44,769.59,1296.7,769.85), (1386.2,769.59,1386.46,769.85), (1274.66,770.15,1274.92,770.41), (1388.18,770.15,1388.44,770.41), (1226.48,771.27,1226.74,771.53), (1308.32,771.83,1308.58,772.09), (1385.54,771.83,1385.8,772.09), (1352.54,772.39,1352.8,772.65), (1250.9,773.51,1251.16,773.77), (1264.76,774.63,1265.02,774.89)])
A(top_io, L74_0, 1240.445, 762.15, 0.36, 0.36, 14, 2, 0.71, 2.07)
A(top_io, L74_0, 1253.445, 769.26, 0.36, 0.36, 14, 1, 0.71, 0)
A(top_io, L74_0, 1240.445, 774.3, 0.36, 0.36, 14, 1, 0.71, 0)
R(top_io, L74_0, [(1202.01,730.34,1202.37,730.7), (1200.03,734.82,1200.39,735.18), (1201.02,747.14,1201.38,747.5), (1221.81,763.38,1222.17,763.74), (1260.42,763.94,1260.78,764.3), (1209.93,765.06,1210.29,765.42), (1200.03,766.18,1200.39,766.54), (1212.9,768.42,1213.26,768.78), (1216.86,771.78,1217.22,772.14), (1352.49,772.34,1352.85,772.7)])

lib.write_gds('top_io.gds')
